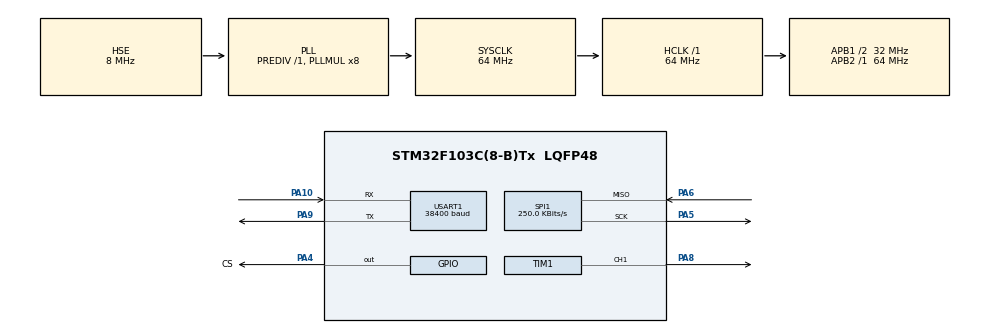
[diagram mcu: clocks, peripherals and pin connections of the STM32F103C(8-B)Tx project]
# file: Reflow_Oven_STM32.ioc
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Mcu.Family=STM32F1
Mcu.Name=STM32F103C(8-B)Tx
Mcu.Package=LQFP48
NVIC.PriorityGroup=NVIC_PRIORITYGROUP_4
NVIC.TIM4_IRQn=true\:1\:0\:true\:false\:true\:true\:true
NVIC.USART1_IRQn=true\:0\:0\:false\:false\:true\:true\:true
PA10.Mode=Asynchronous
PA10.Signal=USART1_RX
PA13.Mode=Serial_Wire
PA13.Signal=SYS_JTMS-SWDIO
PA14.Mode=Serial_Wire
PA14.Signal=SYS_JTCK-SWCLK
PA4.GPIO_Label=CS
PA4.Signal=GPIO_Output
PA5.Mode=RX_Only_Simplex_Unidirect_Master
PA5.Signal=SPI1_SCK
PA6.Mode=RX_Only_Simplex_Unidirect_Master
PA6.Signal=SPI1_MISO
PA8.Signal=S_TIM1_CH1
PA9.Mode=Asynchronous
PA9.Signal=USART1_TX
PD0-OSC_IN.Mode=HSE-External-Oscillator
PD0-OSC_IN.Signal=RCC_OSC_IN
PD1-OSC_OUT.Mode=HSE-External-Oscillator
PD1-OSC_OUT.Signal=RCC_OSC_OUT
ProjectManager.HeapSize=0x200
ProjectManager.StackSize=0x400
ProjectManager.TargetToolchain=STM32CubeIDE
RCC.AHBFreq_Value=64000000
RCC.APB1CLKDivider=RCC_HCLK_DIV2
RCC.APB1Freq_Value=32000000
RCC.APB1TimFreq_Value=64000000
RCC.APB2Freq_Value=64000000
RCC.APB2TimFreq_Value=64000000
RCC.HCLKFreq_Value=64000000
RCC.PLLMUL=RCC_PLL_MUL8
RCC.PLLSourceVirtual=RCC_PLLSOURCE_HSE
RCC.SYSCLKFreq_VALUE=64000000
RCC.SYSCLKSource=RCC_SYSCLKSOURCE_PLLCLK
RCC.USBFreq_Value=64000000
SH.S_TIM1_CH1.0=TIM1_CH1,PWM Generation1 CH1
SPI1.BaudRatePrescaler=SPI_BAUDRATEPRESCALER_256
SPI1.CLKPhase=SPI_PHASE_2EDGE
SPI1.CalculateBaudRate=250.0 KBits/s
SPI1.DataSize=SPI_DATASIZE_16BIT
SPI1.Direction=SPI_DIRECTION_2LINES_RXONLY
SPI1.Mode=SPI_MODE_MASTER
SPI1.VirtualType=VM_MASTER
TIM1.Channel-PWM\ Generation1\ CH1=TIM_CHANNEL_1
TIM1.OCMode_PWM-PWM\ Generation1\ CH1=TIM_OCMODE_PWM2
TIM1.OCPolarity_1=TIM_OCPOLARITY_LOW
TIM1.Period=1000
TIM1.Prescaler=32000
TIM4.Period=500
TIM4.Prescaler=64000
USART1.BaudRate=38400
USART1.VirtualMode=VM_ASYNC
VP_TIM4_VS_ClockSourceINT.Mode=Internal
board=custom

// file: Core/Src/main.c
/* USER CODE BEGIN Header */
/**
  ******************************************************************************
  * @file           : main.c
  * @brief          : Main program body
  ******************************************************************************
  * @attention
  *
  * <h2><center>&copy; Copyright (c) 2021 STMicroelectronics.
  * All rights reserved.</center></h2>
  *
  * This software component is licensed by ST under BSD 3-Clause license,
  * the "License"; You may not use this file except in compliance with the
  * License. You may obtain a copy of the License at:
  *                        opensource.org/licenses/BSD-3-Clause
  *
  ******************************************************************************
  */
/* USER CODE END Header */
#include "main.h"

/* USER CODE BEGIN Includes */
#define ARM_MATH_CM3
#include "arm_math.h"
#include "FLASH_PAGE.h"
#include "stdio.h"
#include <stdlib.h>
#include "string.h"
/* USER CODE END Includes */

SPI_HandleTypeDef hspi1;

TIM_HandleTypeDef htim1;
TIM_HandleTypeDef htim4;

UART_HandleTypeDef huart1;

void SystemClock_Config(void);
static void MX_GPIO_Init(void);
static void MX_SPI1_Init(void);
static void MX_TIM4_Init(void);
static void MX_TIM1_Init(void);
static void MX_USART1_UART_Init(void);

/* USER CODE BEGIN 0 */

typedef struct {
	float32_t KP ;
	float32_t Ki ;
	float32_t KD ;
	float32_t firstHeatUpRate;
	uint32_t SoakTempeture ;
	uint32_t SoakTime ;
	float32_t secondHeatUpRate;
	uint32_t ReflowTempeture ;
	uint32_t ReflowTime;
}ReflowTemplate;

uint8_t data[2];
uint8_t ReflowCurve[4000];
float temp;
float duty;
uint32_t data_flash[] = {400, 200, 0, 50, 900, 2};
arm_pid_instance_f32 PID;
ReflowTemplate ReflowParameters;
uint8_t ReflowEnable = 0;
uint16_t ReflowIndex = 0;
float32_t debug = 0;
uint8_t Cmd_End[3] = {0xFF, 0xFF, 0xFF};
uint8_t UART_Recieved_Data[5]={'p','0','x','x','x'};
uint8_t UART_Recieved_Flag = 0;
char input[20];
uint16_t PhaseIndex[5]={0};
char ConsoleMSG[20];

//ReflowTemplate ReflowDebug;

//char test2[5]={'1','.','2','3','4'};
uint8_t test2[5] = {'p','0','x','x','x'};

//void FlashReflowParameters(){
////Flash_Write_Data(0x0801FC00, (uint32_t*)ReflowParameters, 9);
//
//int i;
//uint8_t *data_p = &ReflowParameters;
//uint64_t flash_address = 0x0801FC00;//put first flash address here
//HAL_FLASH_Unlock();
//for ( i = 0; i < sizeof(ReflowTemplate); i++, data_p++, flash_address++ )
//    HAL_FLASH_Program(FLASH_TYPEPROGRAM_WORD, flash_address, *data_p);
//HAL_FLASH_Lock();
//}

void SaveParameters(){
	Flash_Write_Data(0x0801FC00, &ReflowParameters, 9);
}

void HAL_UART_RxCpltCallback(UART_HandleTypeDef *huart){
	HAL_UART_Receive_IT(&huart1, UART_Recieved_Data, 5);
	UART_Recieved_Flag =1;
}

void NEXTION_SendString (char *ID, char *string){
	char buf[50];
	int len = sprintf(buf, "%s.txt=\"%s\"", ID, string);
	HAL_UART_Transmit(&huart1, (uint8_t *)buf, len, 1000);
	HAL_UART_Transmit(&huart1, Cmd_End, 3, 100);

}

void NEXTION_SendFloat (char *ID, float32_t number){
	char buf[50];
	int len = sprintf(buf, "%s.txt=\"%.2f\"", ID, number);
	HAL_UART_Transmit(&huart1, (uint8_t *)buf, len, 1000);
	HAL_UART_Transmit(&huart1, Cmd_End, 3, 100);
}

void NEXTION_SenduInt (char *ID, uint32_t number){
	char buf[50];
	int len = sprintf(buf, "%s.txt=\"%lu\"", ID, number);
	HAL_UART_Transmit(&huart1, (uint8_t *)buf, len, 1000);
	HAL_UART_Transmit(&huart1, Cmd_End, 3, 100);
}

void NEXTION_CMD (char *string){
	HAL_UART_Transmit(&huart1, (uint8_t *)string, strlen(string), 1000);
	HAL_UART_Transmit(&huart1, Cmd_End, 3, 100);
}

void UpdatePage(){
	NEXTION_SendFloat("t1",ReflowParameters.firstHeatUpRate);
	NEXTION_SenduInt("t2", ReflowParameters.SoakTempeture);
	NEXTION_SenduInt("t3", ReflowParameters.SoakTime);
	NEXTION_SendFloat("t4",ReflowParameters.secondHeatUpRate);
	NEXTION_SenduInt("t5", ReflowParameters.ReflowTempeture);
	NEXTION_SenduInt("t6", ReflowParameters.ReflowTime);
}

void NextionDrawDot(uint32_t x, uint32_t y){

	char buf[50];
	int len = sprintf(buf, "cirs %lu,%lu,2,BLUE", x, y);
	HAL_UART_Transmit(&huart1, (uint8_t *)buf, len, 1000);
	HAL_UART_Transmit(&huart1, Cmd_End, 3, 100);
}

void NextionDrawTemp(uint32_t x, uint32_t y){

	char buf[50];
	int len = sprintf(buf, "cirs %lu,%lu,2,RED", x, y);
	HAL_UART_Transmit(&huart1, (uint8_t *)buf, len, 1000);
	HAL_UART_Transmit(&huart1, Cmd_End, 3, 100);
}

float32_t HandleKeyPad() {

	//clear Input
	for (int i = 0; i < 20; i++) {
		input[i] = 0;
	}

	uint8_t index = 0;

	NEXTION_SendString("t0", "");
	UART_Recieved_Flag = 0;

	while (strncmp((char*) UART_Recieved_Data, "enter", 5) != 0) {

		if(strncmp((char*) UART_Recieved_Data, "abbre", 5) == 0)
				return 9999;
		if(strncmp((char*) UART_Recieved_Data, "kback", 5) == 0)
				return 8888;

		if (UART_Recieved_Flag == 1) {
			input[index] = UART_Recieved_Data[4];
			UART_Recieved_Flag = 0;
			index++;
			NEXTION_SendString("t0", input);
		}
	}
	return atof(input);
}

void Update_Page_3() {
	uint8_t defaultUart[5] = {'p','3','x','x','x'};
	for(int i=0;i<5;i++){
		UART_Recieved_Data[i]=defaultUart[i];
	}

	NEXTION_SendFloat("t0", ReflowParameters.firstHeatUpRate);
	NEXTION_SenduInt("t1", ReflowParameters.SoakTime);
	NEXTION_SenduInt("t2", ReflowParameters.SoakTempeture);
	NEXTION_SendFloat("t3", ReflowParameters.secondHeatUpRate);
	NEXTION_SenduInt("t4", ReflowParameters.ReflowTime);
	NEXTION_SenduInt("t5", ReflowParameters.ReflowTempeture);

}

void Update_Page_0() {
	uint8_t defaultUart[5] = {'p','0','x','x','x'};
	for(int i=0;i<5;i++){
		UART_Recieved_Data[i]=defaultUart[i];
	}

	float32_t dx = 0.625/4; //275px / 400s
	float32_t dy = 0.8333; //200px / 240 Grad
	uint32_t OffsetX = 35;
	uint32_t OffsetY = 230;

		//Reflow Aktuelle Temperatur anzeigen:
		if (ReflowEnable == 1)
			NextionDrawTemp(OffsetX + (uint32_t)((float32_t)(ReflowIndex)*dx), OffsetY - (uint32_t)((float32_t)(temp)*dy));

	NEXTION_SendFloat("t0", temp);
	NEXTION_SendFloat("t1", ReflowParameters.firstHeatUpRate);
	NEXTION_SenduInt("t3", ReflowParameters.SoakTime);
	NEXTION_SenduInt("t2", ReflowParameters.SoakTempeture);
	NEXTION_SendFloat("t4", ReflowParameters.secondHeatUpRate);
	NEXTION_SenduInt("t6", ReflowParameters.ReflowTime);
	NEXTION_SenduInt("t5", ReflowParameters.ReflowTempeture);
	NEXTION_SendString("g1", ConsoleMSG);

}

void Update_Page_2() {
	uint8_t defaultUart[5] = {'p','2','x','x','x'};
	for(int i=0;i<5;i++){
		UART_Recieved_Data[i]=defaultUart[i];
	}

	NEXTION_SendFloat("t0", ReflowParameters.KP);
	NEXTION_SendFloat("t1", ReflowParameters.Ki);
	NEXTION_SendFloat("t2", ReflowParameters.KD);
}

void HandleGui(){
	//###################Page0##########################

	if(strncmp((char *)UART_Recieved_Data, "p0xxx", 5) == 0){
			Update_Page_0();
			}

	if(strncmp((char *)UART_Recieved_Data, "p0b02", 5) == 0){
			Update_Page_3();
			}

	if(strncmp((char *)UART_Recieved_Data, "p0b00", 5) == 0){
			startReflow();
			Update_Page_0();
			}

	if(strncmp((char *)UART_Recieved_Data, "p0b01", 5) == 0){
			stopReflow();
			Update_Page_0();
			}

	if(strncmp((char *)UART_Recieved_Data, "p0b02", 5) == 0){
			Update_Page_3();
			}

	//###################Page2##########################

	  if(strncmp((char *)UART_Recieved_Data, "p2xxx", 5) == 0){
		Update_Page_2();
		}

		  if(strncmp((char *)UART_Recieved_Data, "p2b00", 5) == 0){
			  float32_t Output =0;
			  Output = HandleKeyPad();
			  while(Output == 9999){
					uint8_t defaultUart[5] = {'x','x','x','x','x'};
					for(int i=0;i<5;i++){
						UART_Recieved_Data[i]=defaultUart[i];
					}
				  Output = HandleKeyPad();
			  }
			  if(Output == 8888){
				 Output = ReflowParameters.KP;
			  }
	    ReflowParameters.KP = Output;
	    PID.Kp = ReflowParameters.KP;
		arm_pid_init_f32(&PID, 1);
		Update_Page_2();
		NEXTION_CMD("page 2");

		}

		  if(strncmp((char *)UART_Recieved_Data, "p2b01", 5) == 0){
			  float32_t Output =0;
			  Output = HandleKeyPad();
			  while(Output == 9999){
					uint8_t defaultUart[5] = {'x','x','x','x','x'};
					for(int i=0;i<5;i++){
						UART_Recieved_Data[i]=defaultUart[i];
					}
				  Output = HandleKeyPad();
			  }
			  if(Output == 8888){
				 Output = ReflowParameters.Ki;
			  }
			  ReflowParameters.Ki = Output;
			  	    PID.Ki = ReflowParameters.Ki;
			arm_pid_init_f32(&PID, 1);
			Update_Page_2();
			NEXTION_CMD("page 2");

		}

		  if(strncmp((char *)UART_Recieved_Data, "p2b02", 5) == 0){
			  float32_t Output =0;
			  Output = HandleKeyPad();
			  while(Output == 9999){
					uint8_t defaultUart[5] = {'x','x','x','x','x'};
					for(int i=0;i<5;i++){
						UART_Recieved_Data[i]=defaultUart[i];
					}
				  Output = HandleKeyPad();
			  }
			  if(Output == 8888){
				 Output = ReflowParameters.KD;
			  }
			  ReflowParameters.KD = Output;
			 			  	    PID.Kd = ReflowParameters.KD;
			arm_pid_init_f32(&PID, 1);
			Update_Page_2();
			NEXTION_CMD("page 2");

		}

		  if(strncmp((char *)UART_Recieved_Data, "p2b03", 5) == 0){
			Update_Page_3();
		}

	//###################Page 3########################

	  if(strncmp((char *)UART_Recieved_Data, "p3xxx", 5) == 0){
		Update_Page_3();
		}

		  if(strncmp((char *)UART_Recieved_Data, "p3b00", 5) == 0){
			  float32_t Output =0;
			  Output = HandleKeyPad();
			  while(Output == 9999){
					uint8_t defaultUart[5] = {'x','x','x','x','x'};
					for(int i=0;i<5;i++){
						UART_Recieved_Data[i]=defaultUart[i];
					}
				  Output = HandleKeyPad();
			  }
			  if(Output == 8888){
				 Output = ReflowParameters.firstHeatUpRate;
			  }

			  if(Output < 0.2)
				  Output = 0.2;

		ReflowParameters.firstHeatUpRate = Output;
		Update_Page_3();
		NEXTION_CMD("page 3");
		calculateReflowCurve();

		}
		//NEXTION_SendFloat("t0", ReflowParameters.firstHeatUpRate);

		  if(strncmp((char *)UART_Recieved_Data, "p3b01", 5) == 0){
			  float32_t Output =0;
			  Output = HandleKeyPad();
			  while(Output == 9999){
					uint8_t defaultUart[5] = {'x','x','x','x','x'};
					for(int i=0;i<5;i++){
						UART_Recieved_Data[i]=defaultUart[i];
					}
				  Output = HandleKeyPad();
			  }
			  if(Output == 8888){
				 Output = ReflowParameters.SoakTime;
			  }
			ReflowParameters.SoakTime = Output;
			Update_Page_3();
			NEXTION_CMD("page 3");
			calculateReflowCurve();

		}
		//NEXTION_SendFloat("t0", ReflowParameters.firstHeatUpRate);

		  if(strncmp((char *)UART_Recieved_Data, "p3b02", 5) == 0){
			  float32_t Output =0;
			  Output = HandleKeyPad();
			  while(Output == 9999){
					uint8_t defaultUart[5] = {'x','x','x','x','x'};
					for(int i=0;i<5;i++){
						UART_Recieved_Data[i]=defaultUart[i];
					}
				  Output = HandleKeyPad();
			  }
			  if(Output == 8888){
				 Output = ReflowParameters.SoakTempeture;
			  }
			ReflowParameters.SoakTempeture = Output;
			Update_Page_3();
			NEXTION_CMD("page 3");
			calculateReflowCurve();

		}
		//NEXTION_SendFloat("t0", ReflowParameters.firstHeatUpRate);

		  if(strncmp((char *)UART_Recieved_Data, "p3b03", 5) == 0){
			  float32_t Output =0;
			  Output = HandleKeyPad();
			  while(Output == 9999){
					uint8_t defaultUart[5] = {'x','x','x','x','x'};
					for(int i=0;i<5;i++){
						UART_Recieved_Data[i]=defaultUart[i];
					}
				  Output = HandleKeyPad();
			  }
			  if(Output == 8888){
				 Output = ReflowParameters.secondHeatUpRate;
			  }
			  if(Output < 0.2)
						  Output = 0.2;
			ReflowParameters.secondHeatUpRate = Output;
			Update_Page_3();
			NEXTION_CMD("page 3");
			calculateReflowCurve();

		}

		//NEXTION_SendFloat("t0", ReflowParameters.firstHeatUpRate);

		  if(strncmp((char *)UART_Recieved_Data, "p3b04", 5) == 0){
			  float32_t Output =0;
			  Output = HandleKeyPad();
			  while(Output == 9999){
					uint8_t defaultUart[5] = {'x','x','x','x','x'};
					for(int i=0;i<5;i++){
						UART_Recieved_Data[i]=defaultUart[i];
					}
				  Output = HandleKeyPad();
			  }
			  if(Output == 8888){
				 Output = ReflowParameters.ReflowTime;
			  }
			ReflowParameters.ReflowTime = Output;
			Update_Page_3();
			NEXTION_CMD("page 3");
			calculateReflowCurve();

		}
		//NEXTION_SendFloat("t0", ReflowParameters.firstHeatUpRate);

		  if(strncmp((char *)UART_Recieved_Data, "p3b05", 5) == 0){
			  float32_t Output =0;
			  Output = HandleKeyPad();
			  while(Output == 9999){
					uint8_t defaultUart[5] = {'x','x','x','x','x'};
					for(int i=0;i<5;i++){
						UART_Recieved_Data[i]=defaultUart[i];
					}
				  Output = HandleKeyPad();
			  }
			  if(Output == 8888){
				 Output = ReflowParameters.ReflowTempeture;
			  }
			ReflowParameters.ReflowTempeture = Output;
			Update_Page_3();
			NEXTION_CMD("page 3");
			calculateReflowCurve();

		}

		  if(strncmp((char *)UART_Recieved_Data, "p3b06", 5) == 0){
			Update_Page_2();
		}

		  if(strncmp((char *)UART_Recieved_Data, "p3b07", 5) == 0){
			Update_Page_0();
			Draw_Reflow_Curve();
			SaveParameters();
		}
		//NEXTION_SendFloat("t0", ReflowParameters.firstHeatUpRate);

//	NEXTION_SendFloat("t0",ReflowParameters.firstHeatUpRate );
//	NEXTION_SenduInt("t1",ReflowParameters.SoakTime );
//	NEXTION_SenduInt("t2",ReflowParameters.SoakTempeture );
//	NEXTION_SendFloat("t3",ReflowParameters.secondHeatUpRate );
//	NEXTION_SenduInt("t4",ReflowParameters.ReflowTime );
//	NEXTION_SenduInt("t5",ReflowParameters.ReflowTempeture );
}

void HAL_TIM_PeriodElapsedCallback(TIM_HandleTypeDef *htim) {
	float32_t dx = 0.625/4; //275px / 880s / 500ms
	float32_t dy = 0.8333; //200px / 240 Grad
	uint32_t OffsetX = 35;
	uint32_t OffsetY = 230;

	if (htim == &htim4) {
		//Thermocouple alle 500ms auslesen:
		HAL_GPIO_WritePin(CS_GPIO_Port, CS_Pin, 0);
		HAL_SPI_Receive(&hspi1, data, 2, 100);
		HAL_GPIO_WritePin(CS_GPIO_Port, CS_Pin, 1);
		temp = ((((uint16_t) data[1] << 8) | data[2]) >> 3) * 0.249;

		//Reflow Prozess Einleiten:
		if (ReflowEnable == 1) {
			//NextionDrawTemp(OffsetX + (uint32_t)((float32_t)(ReflowIndex)*dx), OffsetY - (uint32_t)((float32_t)(temp)*dy));

			if(ReflowIndex == PhaseIndex[0])
				sprintf(ConsoleMSG,"HEAT UP");
			if(ReflowIndex == PhaseIndex[1])
				sprintf(ConsoleMSG,"SOAK");
			if(ReflowIndex == PhaseIndex[2])
				sprintf(ConsoleMSG,"HEAT UP");
			if(ReflowIndex == PhaseIndex[3])
				sprintf(ConsoleMSG,"REFLOW");
			if(ReflowIndex == PhaseIndex[4])
				sprintf(ConsoleMSG,"COOL DOWN");

			//Regelabweichung
			float pid_error =  ReflowCurve[ReflowIndex] - temp;
			//Stellgroesse
			duty =  arm_pid_f32(&PID, pid_error);

			//Stellgrößenbegrenzung
			if (duty > 1000) {
				duty = 1000;
			} else if (duty < 0) {
				duty = 0;
			}

			//Dutycycle Anpassen
			htim1.Instance->CCR1 = (uint16_t)duty;

			ReflowIndex++;
			//Abbruchbedingung
			if (ReflowIndex == PhaseIndex[4]) {
				sprintf(ConsoleMSG,"FINISHED");
				ReflowEnable = 0;
			}

		} else {
			ReflowIndex = 0;
			//Dutycycle = 0
			htim1.Instance->CCR1 = 0;
		}

	}

}

void setReflowParameters(){
	ReflowParameters.KP = 10;
	ReflowParameters.Ki = 10;
	ReflowParameters.KD = 0;
	ReflowParameters.firstHeatUpRate = 1.2;
	ReflowParameters.SoakTempeture = 100;
	ReflowParameters.SoakTime = 100;
	ReflowParameters.secondHeatUpRate = 1.2;
	ReflowParameters.ReflowTempeture = 210;
	ReflowParameters.ReflowTime =100;
	sprintf(ConsoleMSG,"IDLE");
}

void calculateReflowCurve(){
	for(int i =0;i<4000;i++){
		ReflowCurve[i]=0;
	}

	int index = 0;
	float timestep = 0.5;
	//First Heat Up:
	while (24 + timestep * ReflowParameters.firstHeatUpRate <= ReflowParameters.SoakTempeture) {
	ReflowCurve[index] = 24 + timestep * ReflowParameters.firstHeatUpRate;
	index++;
	timestep = timestep + 0.5;
	}
	PhaseIndex[1]=index;

	//Soak
	int Soakduration = 2*ReflowParameters.SoakTime;

	for(int i=0;i<Soakduration;i++){
		ReflowCurve[index+i]=ReflowParameters.SoakTempeture;
	}

	//Second Heat Up:
	index = index + Soakduration;
	PhaseIndex[2]=index;
	timestep = 0.5;
	while (ReflowParameters.SoakTempeture + timestep * ReflowParameters.secondHeatUpRate <= ReflowParameters.ReflowTempeture) {
	ReflowCurve[index] = ReflowParameters.SoakTempeture + (uint8_t)timestep * ReflowParameters.secondHeatUpRate;
	index++;
	timestep = timestep + 0.5;
	}
	PhaseIndex[3]=index;

	//Reflow
	int Reflowduration = 2*ReflowParameters.ReflowTime;

	for(int i=0;i<Reflowduration;i++){
		ReflowCurve[index+i]=ReflowParameters.ReflowTempeture;
	}

	index = index + Reflowduration;
	ReflowCurve[index]=0;
	PhaseIndex[4]=index;

	//Cooldown
	timestep = 0.5;
	while (ReflowParameters.ReflowTempeture - timestep * 1.8 >= 24) {
	ReflowCurve[index] = ReflowParameters.ReflowTempeture - timestep * 1.8;
	index++;
	timestep = timestep + 0.5;
	}

}

void Draw_Reflow_Curve(){
	float32_t dx = 0.625 / 4; //275px / 880s / 500 ms
	float32_t dy = 0.8333; //200px / 240 Grad
	uint32_t OffsetX = 35;
	uint32_t OffsetY = 230;
	uint32_t index = 0;

	while(ReflowCurve[index] != 0){

		NextionDrawDot(OffsetX + (uint32_t)((float32_t)(index)*dx), OffsetY - (uint32_t)((float32_t)(ReflowCurve[index])*dy));
		index= index + 4;

		if(strncmp((char *)UART_Recieved_Data, "p0b02", 5) == 0)
			break;
	}
}

void startReflow(){
ReflowEnable = 1;
NEXTION_CMD("page 0");
Draw_Reflow_Curve();
Update_Page_0();

}

void stopReflow(){
	if(ReflowEnable ==1){
	ReflowEnable = 0;
	sprintf(ConsoleMSG,"STOPPED");
	Update_Page_0();
	}
}

/* USER CODE END 0 */

int main(void)
{
  /* USER CODE BEGIN 1 */

	setReflowParameters();
	Flash_Read_Data(0x0801FC00, &ReflowParameters);
	calculateReflowCurve();

	PID.Kp = ReflowParameters.KP;
	PID.Ki = ReflowParameters.Ki;
	PID.Kd = ReflowParameters.KD;

	arm_pid_init_f32(&PID, 1);

  /* USER CODE END 1 */

  /* MCU Configuration--------------------------------------------------------*/

  /* Reset of all peripherals, Initializes the Flash interface and the Systick. */
  HAL_Init();

  /* Configure the system clock */
  SystemClock_Config();

  /* Initialize all configured peripherals */
  MX_GPIO_Init();
  MX_SPI1_Init();
  MX_TIM4_Init();
  MX_TIM1_Init();
  MX_USART1_UART_Init();
  /* USER CODE BEGIN 2 */
  HAL_TIM_Base_Start_IT(&htim4);
  HAL_TIM_PWM_Start(&htim1, TIM_CHANNEL_1);

  htim1.Instance->CCR1 = 10;

  //startReflow();
	HAL_Delay(2000);
  HAL_UART_Receive_IT(&huart1, UART_Recieved_Data, 5);
 sprintf(ConsoleMSG,"IDLE");
 Update_Page_0();
  Draw_Reflow_Curve();
  HAL_UART_Receive_IT(&huart1, UART_Recieved_Data, 5);
 // SaveParameters();

  //HAL_Delay(1000);

  /* USER CODE END 2 */

  /* Infinite loop */
  while (1)
  {

    /* USER CODE BEGIN 3 */
	  //char k[] = "1.2";
	  //debug = atof(k);

	  //debug = ReflowCurve[ReflowIndex];
//	  if(UART_Recieved_Data[3] == '1'){
//	  NEXTION_SendFloat("t0",33);
//	  debug = 5;
//	  }
//	  else{
//      NEXTION_SendFloat("t0",66);
//      debug = 3;
//	  }
	  HandleGui();
	  HAL_Delay(500);

	  if(strncmp((char *)UART_Recieved_Data, "p0xxx", 5) == 0){

		  debug = 5;

	  }

	  //NextionDrawDot(200,200);

	  //debug = HandleKeyPad();
	  //debug = atof(input);

	  //UpdatePage();

  }
  /* USER CODE END 3 */
}

void SystemClock_Config(void)
{
  RCC_OscInitTypeDef RCC_OscInitStruct = {0};
  RCC_ClkInitTypeDef RCC_ClkInitStruct = {0};

  /** Initializes the RCC Oscillators according to the specified parameters
  * in the RCC_OscInitTypeDef structure.
  */
  RCC_OscInitStruct.OscillatorType = RCC_OSCILLATORTYPE_HSE;
  RCC_OscInitStruct.HSEState = RCC_HSE_ON;
  RCC_OscInitStruct.HSEPredivValue = RCC_HSE_PREDIV_DIV1;
  RCC_OscInitStruct.HSIState = RCC_HSI_ON;
  RCC_OscInitStruct.PLL.PLLState = RCC_PLL_ON;
  RCC_OscInitStruct.PLL.PLLSource = RCC_PLLSOURCE_HSE;
  RCC_OscInitStruct.PLL.PLLMUL = RCC_PLL_MUL8;
  if (HAL_RCC_OscConfig(&RCC_OscInitStruct) != HAL_OK)
  {
    Error_Handler();
  }
  /** Initializes the CPU, AHB and APB buses clocks
  */
  RCC_ClkInitStruct.ClockType = RCC_CLOCKTYPE_HCLK|RCC_CLOCKTYPE_SYSCLK
                              |RCC_CLOCKTYPE_PCLK1|RCC_CLOCKTYPE_PCLK2;
  RCC_ClkInitStruct.SYSCLKSource = RCC_SYSCLKSOURCE_PLLCLK;
  RCC_ClkInitStruct.AHBCLKDivider = RCC_SYSCLK_DIV1;
  RCC_ClkInitStruct.APB1CLKDivider = RCC_HCLK_DIV2;
  RCC_ClkInitStruct.APB2CLKDivider = RCC_HCLK_DIV1;

  if (HAL_RCC_ClockConfig(&RCC_ClkInitStruct, FLASH_LATENCY_2) != HAL_OK)
  {
    Error_Handler();
  }
}

static void MX_SPI1_Init(void)
{

  /* SPI1 parameter configuration*/
  hspi1.Instance = SPI1;
  hspi1.Init.Mode = SPI_MODE_MASTER;
  hspi1.Init.Direction = SPI_DIRECTION_2LINES_RXONLY;
  hspi1.Init.DataSize = SPI_DATASIZE_16BIT;
  hspi1.Init.CLKPolarity = SPI_POLARITY_LOW;
  hspi1.Init.CLKPhase = SPI_PHASE_2EDGE;
  hspi1.Init.NSS = SPI_NSS_SOFT;
  hspi1.Init.BaudRatePrescaler = SPI_BAUDRATEPRESCALER_256;
  hspi1.Init.FirstBit = SPI_FIRSTBIT_MSB;
  hspi1.Init.TIMode = SPI_TIMODE_DISABLE;
  hspi1.Init.CRCCalculation = SPI_CRCCALCULATION_DISABLE;
  hspi1.Init.CRCPolynomial = 10;
  if (HAL_SPI_Init(&hspi1) != HAL_OK)
  {
    Error_Handler();
  }

}

static void MX_TIM1_Init(void)
{

  TIM_MasterConfigTypeDef sMasterConfig = {0};
  TIM_OC_InitTypeDef sConfigOC = {0};
  TIM_BreakDeadTimeConfigTypeDef sBreakDeadTimeConfig = {0};

  htim1.Instance = TIM1;
  htim1.Init.Prescaler = 32000;
  htim1.Init.CounterMode = TIM_COUNTERMODE_UP;
  htim1.Init.Period = 1000;
  htim1.Init.ClockDivision = TIM_CLOCKDIVISION_DIV1;
  htim1.Init.RepetitionCounter = 0;
  htim1.Init.AutoReloadPreload = TIM_AUTORELOAD_PRELOAD_DISABLE;
  if (HAL_TIM_PWM_Init(&htim1) != HAL_OK)
  {
    Error_Handler();
  }
  sMasterConfig.MasterOutputTrigger = TIM_TRGO_RESET;
  sMasterConfig.MasterSlaveMode = TIM_MASTERSLAVEMODE_DISABLE;
  if (HAL_TIMEx_MasterConfigSynchronization(&htim1, &sMasterConfig) != HAL_OK)
  {
    Error_Handler();
  }
  sConfigOC.OCMode = TIM_OCMODE_PWM2;
  sConfigOC.Pulse = 0;
  sConfigOC.OCPolarity = TIM_OCPOLARITY_LOW;
  sConfigOC.OCNPolarity = TIM_OCNPOLARITY_HIGH;
  sConfigOC.OCFastMode = TIM_OCFAST_DISABLE;
  sConfigOC.OCIdleState = TIM_OCIDLESTATE_RESET;
  sConfigOC.OCNIdleState = TIM_OCNIDLESTATE_RESET;
  if (HAL_TIM_PWM_ConfigChannel(&htim1, &sConfigOC, TIM_CHANNEL_1) != HAL_OK)
  {
    Error_Handler();
  }
  sBreakDeadTimeConfig.OffStateRunMode = TIM_OSSR_DISABLE;
  sBreakDeadTimeConfig.OffStateIDLEMode = TIM_OSSI_DISABLE;
  sBreakDeadTimeConfig.LockLevel = TIM_LOCKLEVEL_OFF;
  sBreakDeadTimeConfig.DeadTime = 0;
  sBreakDeadTimeConfig.BreakState = TIM_BREAK_DISABLE;
  sBreakDeadTimeConfig.BreakPolarity = TIM_BREAKPOLARITY_HIGH;
  sBreakDeadTimeConfig.AutomaticOutput = TIM_AUTOMATICOUTPUT_DISABLE;
  if (HAL_TIMEx_ConfigBreakDeadTime(&htim1, &sBreakDeadTimeConfig) != HAL_OK)
  {
    Error_Handler();
  }
  HAL_TIM_MspPostInit(&htim1);

}

static void MX_TIM4_Init(void)
{

  TIM_ClockConfigTypeDef sClockSourceConfig = {0};
  TIM_MasterConfigTypeDef sMasterConfig = {0};

  htim4.Instance = TIM4;
  htim4.Init.Prescaler = 64000;
  htim4.Init.CounterMode = TIM_COUNTERMODE_UP;
  htim4.Init.Period = 500;
  htim4.Init.ClockDivision = TIM_CLOCKDIVISION_DIV1;
  htim4.Init.AutoReloadPreload = TIM_AUTORELOAD_PRELOAD_DISABLE;
  if (HAL_TIM_Base_Init(&htim4) != HAL_OK)
  {
    Error_Handler();
  }
  sClockSourceConfig.ClockSource = TIM_CLOCKSOURCE_INTERNAL;
  if (HAL_TIM_ConfigClockSource(&htim4, &sClockSourceConfig) != HAL_OK)
  {
    Error_Handler();
  }
  sMasterConfig.MasterOutputTrigger = TIM_TRGO_RESET;
  sMasterConfig.MasterSlaveMode = TIM_MASTERSLAVEMODE_DISABLE;
  if (HAL_TIMEx_MasterConfigSynchronization(&htim4, &sMasterConfig) != HAL_OK)
  {
    Error_Handler();
  }

}

static void MX_USART1_UART_Init(void)
{

  huart1.Instance = USART1;
  huart1.Init.BaudRate = 38400;
  huart1.Init.WordLength = UART_WORDLENGTH_8B;
  huart1.Init.StopBits = UART_STOPBITS_1;
  huart1.Init.Parity = UART_PARITY_NONE;
  huart1.Init.Mode = UART_MODE_TX_RX;
  huart1.Init.HwFlowCtl = UART_HWCONTROL_NONE;
  huart1.Init.OverSampling = UART_OVERSAMPLING_16;
  if (HAL_UART_Init(&huart1) != HAL_OK)
  {
    Error_Handler();
  }

}

static void MX_GPIO_Init(void)
{
  GPIO_InitTypeDef GPIO_InitStruct = {0};

  /* GPIO Ports Clock Enable */
  __HAL_RCC_GPIOD_CLK_ENABLE();
  __HAL_RCC_GPIOA_CLK_ENABLE();

  /*Configure GPIO pin Output Level */
  HAL_GPIO_WritePin(CS_GPIO_Port, CS_Pin, GPIO_PIN_RESET);

  /*Configure GPIO pin : CS_Pin */
  GPIO_InitStruct.Pin = CS_Pin;
  GPIO_InitStruct.Mode = GPIO_MODE_OUTPUT_PP;
  GPIO_InitStruct.Pull = GPIO_NOPULL;
  GPIO_InitStruct.Speed = GPIO_SPEED_FREQ_LOW;
  HAL_GPIO_Init(CS_GPIO_Port, &GPIO_InitStruct);

}

void Error_Handler(void)
{
  __disable_irq();
  while (1)
  {
  }
}

/************************ (C) COPYRIGHT STMicroelectronics *****END OF FILE****/
